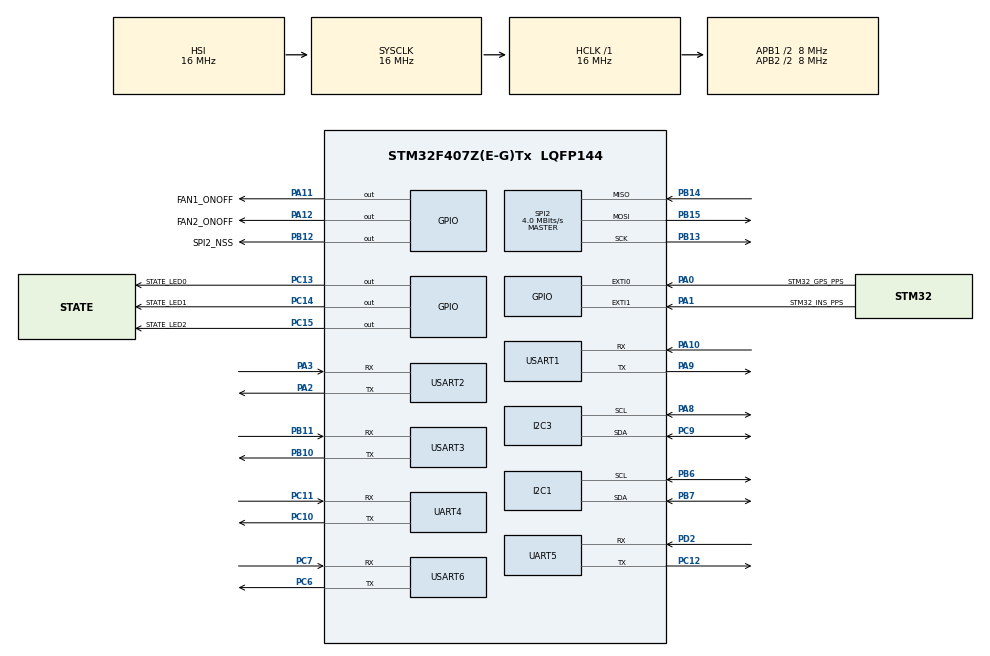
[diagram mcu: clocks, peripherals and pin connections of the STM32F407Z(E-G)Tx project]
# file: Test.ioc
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Mcu.Family=STM32F4
Mcu.Name=STM32F407Z(E-G)Tx
Mcu.Package=LQFP144
NVIC.PriorityGroup=NVIC_PRIORITYGROUP_4
PA0-WKUP.GPIO_Label=STM32_GPS_PPS
PA0-WKUP.Signal=GPXTI0
PA1.GPIO_Label=STM32_INS_PPS
PA1.Signal=GPXTI1
PA10.Mode=Asynchronous
PA10.Signal=USART1_RX
PA11.GPIO_Label=FAN1_ONOFF
PA11.Signal=GPIO_Output
PA12.GPIO_Label=FAN2_ONOFF
PA12.Signal=GPIO_Output
PA13.Mode=JTAG_5_pins
PA13.Signal=SYS_JTMS-SWDIO
PA14.Mode=JTAG_5_pins
PA14.Signal=SYS_JTCK-SWCLK
PA15.Mode=JTAG_5_pins
PA15.Signal=SYS_JTDI
PA2.Mode=Asynchronous
PA2.Signal=USART2_TX
PA3.Mode=Asynchronous
PA3.Signal=USART2_RX
PA8.Mode=I2C
PA8.Signal=I2C3_SCL
PA9.Mode=Asynchronous
PA9.Signal=USART1_TX
PB10.Mode=Asynchronous
PB10.Signal=USART3_TX
PB11.Mode=Asynchronous
PB11.Signal=USART3_RX
PB12.GPIO_Label=SPI2_NSS
PB12.Signal=GPIO_Output
PB13.Mode=Full_Duplex_Master
PB13.Signal=SPI2_SCK
PB14.Mode=Full_Duplex_Master
PB14.Signal=SPI2_MISO
PB15.Mode=Full_Duplex_Master
PB15.Signal=SPI2_MOSI
PB3.Mode=JTAG_5_pins
PB3.Signal=SYS_JTDO-SWO
PB4.Mode=JTAG_5_pins
PB4.Signal=SYS_JTRST
PB6.Mode=I2C
PB6.Signal=I2C1_SCL
PB7.Mode=I2C
PB7.Signal=I2C1_SDA
PC10.Mode=Asynchronous
PC10.Signal=UART4_TX
PC11.Mode=Asynchronous
PC11.Signal=UART4_RX
PC12.Mode=Asynchronous
PC12.Signal=UART5_TX
PC13-ANTI_TAMP.GPIO_Label=STATE_LED0
PC13-ANTI_TAMP.Signal=GPIO_Output
PC14-OSC32_IN.GPIO_Label=STATE_LED1
PC14-OSC32_IN.Signal=GPIO_Output
PC15-OSC32_OUT.GPIO_Label=STATE_LED2
PC15-OSC32_OUT.Signal=GPIO_Output
PC6.Mode=Asynchronous
PC6.Signal=USART6_TX
PC7.Mode=Asynchronous
PC7.Signal=USART6_RX
PC9.Mode=I2C
PC9.Signal=I2C3_SDA
PD2.Mode=Asynchronous
PD2.Signal=UART5_RX
PH0-OSC_IN.Mode=HSE-External-Oscillator
PH0-OSC_IN.Signal=RCC_OSC_IN
PH1-OSC_OUT.Mode=HSE-External-Oscillator
PH1-OSC_OUT.Signal=RCC_OSC_OUT
ProjectManager.HeapSize=0x200
ProjectManager.StackSize=0x400
ProjectManager.TargetToolchain=EWARM V8.32
RCC.AHBFreq_Value=16000000
RCC.APB1CLKDivider=RCC_HCLK_DIV2
RCC.APB1Freq_Value=8000000
RCC.APB1TimFreq_Value=16000000
RCC.APB2CLKDivider=RCC_HCLK_DIV2
RCC.APB2Freq_Value=8000000
RCC.APB2TimFreq_Value=16000000
RCC.CortexFreq_Value=16000000
RCC.HSE_VALUE=25000000
RCC.HSI_VALUE=16000000
RCC.LSE_VALUE=32768
RCC.SYSCLKFreq_VALUE=16000000
RCC.VCOOutputFreq_Value=192000000
SPI2.CalculateBaudRate=4.0 MBits/s
SPI2.Direction=SPI_DIRECTION_2LINES
SPI2.Mode=SPI_MODE_MASTER
SPI2.VirtualType=VM_MASTER
UART4.VirtualMode=Asynchronous
UART5.VirtualMode=Asynchronous
USART1.VirtualMode=VM_ASYNC
USART2.VirtualMode=VM_ASYNC
USART3.VirtualMode=VM_ASYNC
USART6.VirtualMode=VM_ASYNC
board=custom

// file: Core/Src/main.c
/* USER CODE BEGIN Header */
/**
******************************************************************************
* @file           : main.c
* @brief          : Main program body
******************************************************************************
* @attention
*
* <h2><center>&copy; Copyright (c) 2022 STMicroelectronics.
* All rights reserved.</center></h2>
*
* This software component is licensed by ST under BSD 3-Clause license,
* the "License"; You may not use this file except in compliance with the
* License. You may obtain a copy of the License at:
*                        opensource.org/licenses/BSD-3-Clause
*
******************************************************************************
*/
/* USER CODE END Header */
#include "main.h"

I2C_HandleTypeDef hi2c1;
I2C_HandleTypeDef hi2c3;

SPI_HandleTypeDef hspi2;

UART_HandleTypeDef huart4;
UART_HandleTypeDef huart5;
UART_HandleTypeDef huart1;
UART_HandleTypeDef huart2;
UART_HandleTypeDef huart3;
UART_HandleTypeDef huart6;

void SystemClock_Config(void);
static void MX_GPIO_Init(void);
static void MX_I2C3_Init(void);
static void MX_UART4_Init(void);
static void MX_UART5_Init(void);
static void MX_USART1_UART_Init(void);
static void MX_USART2_UART_Init(void);
static void MX_USART3_UART_Init(void);
static void MX_USART6_UART_Init(void);
static void MX_SPI2_Init(void);
static void MX_I2C1_Init(void);

/* USER CODE BEGIN 0 */
uint8_t test[10]=0;

#define TSYS01_ADDR                        0x77
#define TSYS01_RESET                       0x1E
#define TSYS01_ADC_READ                    0x00
#define TSYS01_ADC_TEMP_CONV               0x48
#define TSYS01_PROM_READ                   0XA0

uint16_t temperature = 0;
uint16_t humidity =0;
float temperature_f =0.0;
float humidity_f =0.0;
/* USER CODE END 0 */

int main(void)
{

  /* MCU Configuration--------------------------------------------------------*/

  /* Reset of all peripherals, Initializes the Flash interface and the Systick. */
  HAL_Init();

  /* Configure the system clock */
  SystemClock_Config();

  /* Initialize all configured peripherals */
  MX_GPIO_Init();
  MX_I2C3_Init();
  MX_UART4_Init();
  MX_UART5_Init();
  MX_USART1_UART_Init();
  MX_USART2_UART_Init();
  MX_USART3_UART_Init();
  MX_USART6_UART_Init();
  MX_SPI2_Init();
  MX_I2C1_Init();

  /* Infinite loop */
  /* USER CODE BEGIN WHILE */

  uint8_t test1[2]= {0x00,0x48};
  uint8_t eee = 0x1E;
  uint16_t addr_read = 0x00;
  uint16_t addr_read2 = 0xA0;

  HAL_I2C_Master_Transmit(&hi2c3,TSYS01_ADDR,&eee,1,100);
    HAL_Delay(10);

  while (1)
  {

    if( HAL_ERROR == HAL_I2C_Master_Transmit(&hi2c3,TSYS01_ADDR,&test1[0],1,100)){
      HAL_Delay(3000);
    }
    HAL_Delay(1);
    HAL_I2C_Mem_Read(&hi2c3,TSYS01_ADDR,addr_read,1,test,3,100);
    HAL_Delay(10);

    HAL_I2C_Mem_Read(&hi2c3,TSYS01_ADDR,addr_read2,1,test,3,100);
    HAL_Delay(10);

    HAL_I2C_Mem_Read(&hi2c3,TSYS01_ADDR,addr_read2+2,1,test,3,100);
    HAL_Delay(10);

    HAL_I2C_Mem_Read(&hi2c3,TSYS01_ADDR,addr_read2+4,1,test,3,100);
    HAL_Delay(10);

    HAL_I2C_Mem_Read(&hi2c3,TSYS01_ADDR,addr_read2+6,1,test,3,100);
    HAL_Delay(10);

    temperature = (test[0] << 8) + test[1];
    temperature_f = (((float)temperature / 65536) * 165 ) - 40;

    humidity = (test[2] << 8) + test[3];
    humidity_f = ((float)humidity / 65536) * 100;
    /* USER CODE END WHILE */

  }
}

void SystemClock_Config(void)
{
  RCC_OscInitTypeDef RCC_OscInitStruct = {0};
  RCC_ClkInitTypeDef RCC_ClkInitStruct = {0};

  /** Configure the main internal regulator output voltage
  */
  __HAL_RCC_PWR_CLK_ENABLE();
  __HAL_PWR_VOLTAGESCALING_CONFIG(PWR_REGULATOR_VOLTAGE_SCALE1);
  /** Initializes the RCC Oscillators according to the specified parameters
  * in the RCC_OscInitTypeDef structure.
  */
  RCC_OscInitStruct.OscillatorType = RCC_OSCILLATORTYPE_HSI;
  RCC_OscInitStruct.HSIState = RCC_HSI_ON;
  RCC_OscInitStruct.HSICalibrationValue = RCC_HSICALIBRATION_DEFAULT;
  RCC_OscInitStruct.PLL.PLLState = RCC_PLL_NONE;
  if (HAL_RCC_OscConfig(&RCC_OscInitStruct) != HAL_OK)
  {
    Error_Handler();
  }
  /** Initializes the CPU, AHB and APB buses clocks
  */
  RCC_ClkInitStruct.ClockType = RCC_CLOCKTYPE_HCLK|RCC_CLOCKTYPE_SYSCLK
                              |RCC_CLOCKTYPE_PCLK1|RCC_CLOCKTYPE_PCLK2;
  RCC_ClkInitStruct.SYSCLKSource = RCC_SYSCLKSOURCE_HSI;
  RCC_ClkInitStruct.AHBCLKDivider = RCC_SYSCLK_DIV1;
  RCC_ClkInitStruct.APB1CLKDivider = RCC_HCLK_DIV2;
  RCC_ClkInitStruct.APB2CLKDivider = RCC_HCLK_DIV2;

  if (HAL_RCC_ClockConfig(&RCC_ClkInitStruct, FLASH_LATENCY_0) != HAL_OK)
  {
    Error_Handler();
  }
}

static void MX_I2C1_Init(void)
{

  hi2c1.Instance = I2C1;
  hi2c1.Init.ClockSpeed = 100000;
  hi2c1.Init.DutyCycle = I2C_DUTYCYCLE_2;
  hi2c1.Init.OwnAddress1 = 0;
  hi2c1.Init.AddressingMode = I2C_ADDRESSINGMODE_7BIT;
  hi2c1.Init.DualAddressMode = I2C_DUALADDRESS_DISABLE;
  hi2c1.Init.OwnAddress2 = 0;
  hi2c1.Init.GeneralCallMode = I2C_GENERALCALL_DISABLE;
  hi2c1.Init.NoStretchMode = I2C_NOSTRETCH_DISABLE;
  if (HAL_I2C_Init(&hi2c1) != HAL_OK)
  {
    Error_Handler();
  }

}

static void MX_I2C3_Init(void)
{

  hi2c3.Instance = I2C3;
  hi2c3.Init.ClockSpeed = 200000;
  hi2c3.Init.DutyCycle = I2C_DUTYCYCLE_2;
  hi2c3.Init.OwnAddress1 = 0;
  hi2c3.Init.AddressingMode = I2C_ADDRESSINGMODE_7BIT;
  hi2c3.Init.DualAddressMode = I2C_DUALADDRESS_DISABLE;
  hi2c3.Init.OwnAddress2 = 0;
  hi2c3.Init.GeneralCallMode = I2C_GENERALCALL_DISABLE;
  hi2c3.Init.NoStretchMode = I2C_NOSTRETCH_DISABLE;
  if (HAL_I2C_Init(&hi2c3) != HAL_OK)
  {
    Error_Handler();
  }

}

static void MX_SPI2_Init(void)
{

  /* SPI2 parameter configuration*/
  hspi2.Instance = SPI2;
  hspi2.Init.Mode = SPI_MODE_MASTER;
  hspi2.Init.Direction = SPI_DIRECTION_2LINES;
  hspi2.Init.DataSize = SPI_DATASIZE_8BIT;
  hspi2.Init.CLKPolarity = SPI_POLARITY_LOW;
  hspi2.Init.CLKPhase = SPI_PHASE_1EDGE;
  hspi2.Init.NSS = SPI_NSS_SOFT;
  hspi2.Init.BaudRatePrescaler = SPI_BAUDRATEPRESCALER_2;
  hspi2.Init.FirstBit = SPI_FIRSTBIT_MSB;
  hspi2.Init.TIMode = SPI_TIMODE_DISABLE;
  hspi2.Init.CRCCalculation = SPI_CRCCALCULATION_DISABLE;
  hspi2.Init.CRCPolynomial = 10;
  if (HAL_SPI_Init(&hspi2) != HAL_OK)
  {
    Error_Handler();
  }

}

static void MX_UART4_Init(void)
{

  huart4.Instance = UART4;
  huart4.Init.BaudRate = 115200;
  huart4.Init.WordLength = UART_WORDLENGTH_8B;
  huart4.Init.StopBits = UART_STOPBITS_1;
  huart4.Init.Parity = UART_PARITY_NONE;
  huart4.Init.Mode = UART_MODE_TX_RX;
  huart4.Init.HwFlowCtl = UART_HWCONTROL_NONE;
  huart4.Init.OverSampling = UART_OVERSAMPLING_16;
  if (HAL_UART_Init(&huart4) != HAL_OK)
  {
    Error_Handler();
  }

}

static void MX_UART5_Init(void)
{

  huart5.Instance = UART5;
  huart5.Init.BaudRate = 115200;
  huart5.Init.WordLength = UART_WORDLENGTH_8B;
  huart5.Init.StopBits = UART_STOPBITS_1;
  huart5.Init.Parity = UART_PARITY_NONE;
  huart5.Init.Mode = UART_MODE_TX_RX;
  huart5.Init.HwFlowCtl = UART_HWCONTROL_NONE;
  huart5.Init.OverSampling = UART_OVERSAMPLING_16;
  if (HAL_UART_Init(&huart5) != HAL_OK)
  {
    Error_Handler();
  }

}

static void MX_USART1_UART_Init(void)
{

  huart1.Instance = USART1;
  huart1.Init.BaudRate = 115200;
  huart1.Init.WordLength = UART_WORDLENGTH_8B;
  huart1.Init.StopBits = UART_STOPBITS_1;
  huart1.Init.Parity = UART_PARITY_NONE;
  huart1.Init.Mode = UART_MODE_TX_RX;
  huart1.Init.HwFlowCtl = UART_HWCONTROL_NONE;
  huart1.Init.OverSampling = UART_OVERSAMPLING_16;
  if (HAL_UART_Init(&huart1) != HAL_OK)
  {
    Error_Handler();
  }

}

static void MX_USART2_UART_Init(void)
{

  huart2.Instance = USART2;
  huart2.Init.BaudRate = 115200;
  huart2.Init.WordLength = UART_WORDLENGTH_8B;
  huart2.Init.StopBits = UART_STOPBITS_1;
  huart2.Init.Parity = UART_PARITY_NONE;
  huart2.Init.Mode = UART_MODE_TX_RX;
  huart2.Init.HwFlowCtl = UART_HWCONTROL_NONE;
  huart2.Init.OverSampling = UART_OVERSAMPLING_16;
  if (HAL_UART_Init(&huart2) != HAL_OK)
  {
    Error_Handler();
  }

}

static void MX_USART3_UART_Init(void)
{

  huart3.Instance = USART3;
  huart3.Init.BaudRate = 115200;
  huart3.Init.WordLength = UART_WORDLENGTH_8B;
  huart3.Init.StopBits = UART_STOPBITS_1;
  huart3.Init.Parity = UART_PARITY_NONE;
  huart3.Init.Mode = UART_MODE_TX_RX;
  huart3.Init.HwFlowCtl = UART_HWCONTROL_NONE;
  huart3.Init.OverSampling = UART_OVERSAMPLING_16;
  if (HAL_UART_Init(&huart3) != HAL_OK)
  {
    Error_Handler();
  }

}

static void MX_USART6_UART_Init(void)
{

  huart6.Instance = USART6;
  huart6.Init.BaudRate = 115200;
  huart6.Init.WordLength = UART_WORDLENGTH_8B;
  huart6.Init.StopBits = UART_STOPBITS_1;
  huart6.Init.Parity = UART_PARITY_NONE;
  huart6.Init.Mode = UART_MODE_TX_RX;
  huart6.Init.HwFlowCtl = UART_HWCONTROL_NONE;
  huart6.Init.OverSampling = UART_OVERSAMPLING_16;
  if (HAL_UART_Init(&huart6) != HAL_OK)
  {
    Error_Handler();
  }

}

static void MX_GPIO_Init(void)
{
  GPIO_InitTypeDef GPIO_InitStruct = {0};

  /* GPIO Ports Clock Enable */
  __HAL_RCC_GPIOC_CLK_ENABLE();
  __HAL_RCC_GPIOH_CLK_ENABLE();
  __HAL_RCC_GPIOA_CLK_ENABLE();
  __HAL_RCC_GPIOB_CLK_ENABLE();
  __HAL_RCC_GPIOD_CLK_ENABLE();

  /*Configure GPIO pin Output Level */
  HAL_GPIO_WritePin(GPIOC, STATE_LED0_Pin|STATE_LED1_Pin|STATE_LED2_Pin, GPIO_PIN_RESET);

  /*Configure GPIO pin Output Level */
  HAL_GPIO_WritePin(SPI2_NSS_GPIO_Port, SPI2_NSS_Pin, GPIO_PIN_RESET);

  /*Configure GPIO pin Output Level */
  HAL_GPIO_WritePin(GPIOA, FAN1_ONOFF_Pin|FAN2_ONOFF_Pin, GPIO_PIN_RESET);

  /*Configure GPIO pins : STATE_LED0_Pin STATE_LED1_Pin STATE_LED2_Pin */
  GPIO_InitStruct.Pin = STATE_LED0_Pin|STATE_LED1_Pin|STATE_LED2_Pin;
  GPIO_InitStruct.Mode = GPIO_MODE_OUTPUT_PP;
  GPIO_InitStruct.Pull = GPIO_NOPULL;
  GPIO_InitStruct.Speed = GPIO_SPEED_FREQ_LOW;
  HAL_GPIO_Init(GPIOC, &GPIO_InitStruct);

  /*Configure GPIO pins : STM32_GPS_PPS_Pin STM32_INS_PPS_Pin */
  GPIO_InitStruct.Pin = STM32_GPS_PPS_Pin|STM32_INS_PPS_Pin;
  GPIO_InitStruct.Mode = GPIO_MODE_IT_RISING;
  GPIO_InitStruct.Pull = GPIO_NOPULL;
  HAL_GPIO_Init(GPIOA, &GPIO_InitStruct);

  /*Configure GPIO pin : SPI2_NSS_Pin */
  GPIO_InitStruct.Pin = SPI2_NSS_Pin;
  GPIO_InitStruct.Mode = GPIO_MODE_OUTPUT_PP;
  GPIO_InitStruct.Pull = GPIO_NOPULL;
  GPIO_InitStruct.Speed = GPIO_SPEED_FREQ_LOW;
  HAL_GPIO_Init(SPI2_NSS_GPIO_Port, &GPIO_InitStruct);

  /*Configure GPIO pins : FAN1_ONOFF_Pin FAN2_ONOFF_Pin */
  GPIO_InitStruct.Pin = FAN1_ONOFF_Pin|FAN2_ONOFF_Pin;
  GPIO_InitStruct.Mode = GPIO_MODE_OUTPUT_PP;
  GPIO_InitStruct.Pull = GPIO_NOPULL;
  GPIO_InitStruct.Speed = GPIO_SPEED_FREQ_LOW;
  HAL_GPIO_Init(GPIOA, &GPIO_InitStruct);

}

void Error_Handler(void)
{
  __disable_irq();
  while (1)
  {
  }
}

/************************ (C) COPYRIGHT STMicroelectronics *****END OF FILE****/
